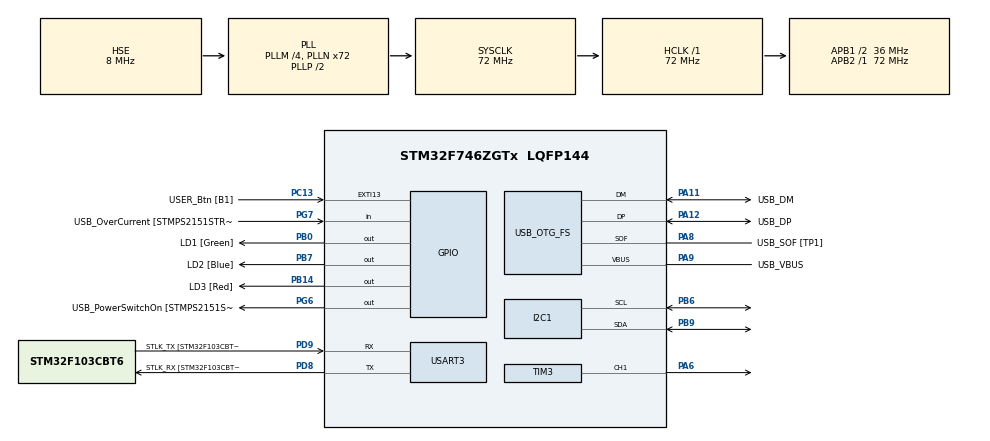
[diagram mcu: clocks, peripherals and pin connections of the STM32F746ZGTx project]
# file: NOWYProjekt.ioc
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I2C1.Timing=0x00808CD2
Mcu.Family=STM32F7
Mcu.Name=STM32F746ZGTx
Mcu.Package=LQFP144
NVIC.PriorityGroup=NVIC_PRIORITYGROUP_4
PA1.GPIO_Label=RMII_REF_CLK [LAN8742A-CZ-TR_REFCLK0]
PA1.Signal=ETH_REF_CLK
PA10.GPIO_Label=USB_ID
PA10.Signal=USB_OTG_FS_ID
PA11.GPIO_Label=USB_DM
PA11.Mode=Device_Only
PA11.Signal=USB_OTG_FS_DM
PA12.GPIO_Label=USB_DP
PA12.Mode=Device_Only
PA12.Signal=USB_OTG_FS_DP
PA13.GPIO_Label=TMS
PA13.Mode=Serial_Wire
PA13.Signal=SYS_JTMS-SWDIO
PA14.GPIO_Label=TCK
PA14.Mode=Serial_Wire
PA14.Signal=SYS_JTCK-SWCLK
PA2.GPIO_Label=RMII_MDIO [LAN8742A-CZ-TR_MDIO]
PA2.Signal=ETH_MDIO
PA6.Signal=S_TIM3_CH1
PA7.GPIO_Label=RMII_CRS_DV [LAN8742A-CZ-TR_CRS_DV]
PA7.Signal=ETH_CRS_DV
PA8.GPIO_Label=USB_SOF [TP1]
PA8.Mode=Activate_SOF_FS
PA8.Signal=USB_OTG_FS_SOF
PA9.GPIO_Label=USB_VBUS
PA9.Mode=Activate_VBUS
PA9.Signal=USB_OTG_FS_VBUS
PB0.GPIO_Label=LD1 [Green]
PB0.Signal=GPIO_Output
PB13.GPIO_Label=RMII_TXD1 [LAN8742A-CZ-TR_TXD1]
PB13.Signal=ETH_TXD1
PB14.GPIO_Label=LD3 [Red]
PB14.Signal=GPIO_Output
PB3.GPIO_Label=SW0
PB3.Signal=SYS_JTDO-SWO
PB6.Mode=I2C
PB6.Signal=I2C1_SCL
PB7.GPIO_Label=LD2 [Blue]
PB7.Signal=GPIO_Output
PB9.Mode=I2C
PB9.Signal=I2C1_SDA
PC1.GPIO_Label=RMII_MDC [LAN8742A-CZ-TR_MDC]
PC1.Signal=ETH_MDC
PC13.GPIO_Label=USER_Btn [B1]
PC13.Signal=GPXTI13
PC14/OSC32_IN.Mode=LSE-External-Oscillator
PC14/OSC32_IN.Signal=RCC_OSC32_IN
PC15/OSC32_OUT.Mode=LSE-External-Oscillator
PC15/OSC32_OUT.Signal=RCC_OSC32_OUT
PC4.GPIO_Label=RMII_RXD0 [LAN8742A-CZ-TR_RXD0]
PC4.Signal=ETH_RXD0
PC5.GPIO_Label=RMII_RXD1 [LAN8742A-CZ-TR_RXD1]
PC5.Signal=ETH_RXD1
PD8.GPIO_Label=STLK_RX [STM32F103CBT6_PA3]
PD8.Mode=Asynchronous
PD8.Signal=USART3_TX
PD9.GPIO_Label=STLK_TX [STM32F103CBT6_PA2]
PD9.Mode=Asynchronous
PD9.Signal=USART3_RX
PG11.GPIO_Label=RMII_TX_EN [LAN8742A-CZ-TR_TXEN]
PG11.Signal=ETH_TX_EN
PG13.GPIO_Label=RMII_TXD0 [LAN8742A-CZ-TR_TXD0]
PG13.Signal=ETH_TXD0
PG6.GPIO_Label=USB_PowerSwitchOn [STMPS2151STR_EN]
PG6.Signal=GPIO_Output
PG7.GPIO_Label=USB_OverCurrent [STMPS2151STR_FAULT]
PG7.Signal=GPIO_Input
PH0/OSC_IN.GPIO_Label=MCO [STM32F103CBT6_PA8]
PH0/OSC_IN.Mode=HSE-External-Clock-Source
PH0/OSC_IN.Signal=RCC_OSC_IN
PH1/OSC_OUT.Mode=HSE-External-Clock-Source
PH1/OSC_OUT.Signal=RCC_OSC_OUT
ProjectManager.HeapSize=0x200
ProjectManager.StackSize=0x400
ProjectManager.TargetToolchain=STM32CubeIDE
RCC.48MHZClocksFreq_Value=24000000
RCC.AHBFreq_Value=72000000
RCC.APB1CLKDivider=RCC_HCLK_DIV2
RCC.APB1Freq_Value=36000000
RCC.APB1TimFreq_Value=72000000
RCC.APB2Freq_Value=72000000
RCC.APB2TimFreq_Value=72000000
RCC.CortexFreq_Value=72000000
RCC.HCLKFreq_Value=72000000
RCC.HSE_VALUE=8000000
RCC.HSI_VALUE=16000000
RCC.PLLM=4
RCC.PLLMUL=RCC_PLL_MUL9
RCC.PLLN=72
RCC.PLLQ=3
RCC.PRESCALERUSB=RCC_USBCLKSOURCE_PLL_DIV1_5
RCC.SYSCLKFreq_VALUE=72000000
RCC.SYSCLKSource=RCC_SYSCLKSOURCE_PLLCLK
RCC.SYSCLKSourceVirtual=RCC_SYSCLKSOURCE_PLLCLK
RCC.USBFreq_Value=48000000
RCC.VCOOutputFreq_Value=144000000
SH.S_TIM3_CH1.0=TIM3_CH1,PWM Generation1 CH1
TIM3.Channel-PWM\ Generation1\ CH1=TIM_CHANNEL_1
TIM3.Period=999
TIM3.Prescaler=71
USART3.VirtualMode-Asynchronous=VM_ASYNC
USB_OTG_FS.VirtualMode=Device_Only
VP_TIM3_VS_ClockSourceINT.Mode=Internal
board=NUCLEO-F746ZG

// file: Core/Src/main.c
/* USER CODE BEGIN Header */
/**
  ******************************************************************************
  * @file           : main.c
  * @brief          : Main program body
  ******************************************************************************
  * @attention
  *
  * Copyright (c) 2023 STMicroelectronics.
  * All rights reserved.
  *
  * This software is licensed under terms that can be found in the LICENSE file
  * in the root directory of this software component.
  * If no LICENSE file comes with this software, it is provided AS-IS.
  *
  ******************************************************************************
  */
/* USER CODE END Header */
#include "main.h"
#include <string.h>
#include "BMPXX80.h"

I2C_HandleTypeDef hi2c1;

TIM_HandleTypeDef htim3;

UART_HandleTypeDef huart3;

PCD_HandleTypeDef hpcd_USB_OTG_FS;

/* USER CODE BEGIN PV */
	float temperature;
	float desTemp = 29;
	float his = 0.5;
	char data[316] = "";
	uint32_t pressure;
	char tekst[316];
/* USER CODE END PV */

void SystemClock_Config(void);
static void MX_GPIO_Init(void);
static void MX_USART3_UART_Init(void);
static void MX_USB_OTG_FS_PCD_Init(void);
static void MX_I2C1_Init(void);
static void MX_TIM3_Init(void);

int main(void)
{

  /* MCU Configuration--------------------------------------------------------*/

  /* Reset of all peripherals, Initializes the Flash interface and the Systick. */
  HAL_Init();

  /* Configure the system clock */
  SystemClock_Config();

  /* Initialize all configured peripherals */
  MX_GPIO_Init();
  MX_USART3_UART_Init();
  MX_USB_OTG_FS_PCD_Init();
  MX_I2C1_Init();
  MX_TIM3_Init();
  /* USER CODE BEGIN 2 */
  BMP280_Init(&hi2c1, BMP280_TEMPERATURE_16BIT, BMP280_STANDARD, BMP280_FORCEDMODE);
  /* USER CODE END 2 */

  /* Infinite loop */
  while (1)
  {

    /* USER CODE BEGIN 3 */
	  BMP280_ReadTemperatureAndPressure(&temperature, &pressure);
	  snprintf((char*)data,sizeof(data), "%.2f, ",temperature);
	  HAL_UART_Transmit(&huart3, (uint8_t*)data, strlen(data), 1000);
	  if( temperature >= desTemp + his*0.5){
		  __HAL_TIM_SET_COMPARE(&htim3, TIM_CHANNEL_1, 0);
	  }else if(temperature <= desTemp + his*0.25){
		  __HAL_TIM_SET_COMPARE(&htim3, TIM_CHANNEL_1, 900);
	  }
	  HAL_Delay(1000);
  }
  /* USER CODE END 3 */
}

void SystemClock_Config(void)
{
  RCC_OscInitTypeDef RCC_OscInitStruct = {0};
  RCC_ClkInitTypeDef RCC_ClkInitStruct = {0};

  /** Configure LSE Drive Capability
  */
  HAL_PWR_EnableBkUpAccess();
  /** Configure the main internal regulator output voltage
  */
  __HAL_RCC_PWR_CLK_ENABLE();
  __HAL_PWR_VOLTAGESCALING_CONFIG(PWR_REGULATOR_VOLTAGE_SCALE3);
  /** Initializes the RCC Oscillators according to the specified parameters
  * in the RCC_OscInitTypeDef structure.
  */
  RCC_OscInitStruct.OscillatorType = RCC_OSCILLATORTYPE_HSE;
  RCC_OscInitStruct.HSEState = RCC_HSE_BYPASS;
  RCC_OscInitStruct.PLL.PLLState = RCC_PLL_ON;
  RCC_OscInitStruct.PLL.PLLSource = RCC_PLLSOURCE_HSE;
  RCC_OscInitStruct.PLL.PLLM = 4;
  RCC_OscInitStruct.PLL.PLLN = 72;
  RCC_OscInitStruct.PLL.PLLP = RCC_PLLP_DIV2;
  RCC_OscInitStruct.PLL.PLLQ = 3;
  if (HAL_RCC_OscConfig(&RCC_OscInitStruct) != HAL_OK)
  {
    Error_Handler();
  }
  /** Initializes the CPU, AHB and APB buses clocks
  */
  RCC_ClkInitStruct.ClockType = RCC_CLOCKTYPE_HCLK|RCC_CLOCKTYPE_SYSCLK
                              |RCC_CLOCKTYPE_PCLK1|RCC_CLOCKTYPE_PCLK2;
  RCC_ClkInitStruct.SYSCLKSource = RCC_SYSCLKSOURCE_PLLCLK;
  RCC_ClkInitStruct.AHBCLKDivider = RCC_SYSCLK_DIV1;
  RCC_ClkInitStruct.APB1CLKDivider = RCC_HCLK_DIV2;
  RCC_ClkInitStruct.APB2CLKDivider = RCC_HCLK_DIV1;

  if (HAL_RCC_ClockConfig(&RCC_ClkInitStruct, FLASH_LATENCY_2) != HAL_OK)
  {
    Error_Handler();
  }
}

static void MX_I2C1_Init(void)
{

  hi2c1.Instance = I2C1;
  hi2c1.Init.Timing = 0x00808CD2;
  hi2c1.Init.OwnAddress1 = 0;
  hi2c1.Init.AddressingMode = I2C_ADDRESSINGMODE_7BIT;
  hi2c1.Init.DualAddressMode = I2C_DUALADDRESS_DISABLE;
  hi2c1.Init.OwnAddress2 = 0;
  hi2c1.Init.OwnAddress2Masks = I2C_OA2_NOMASK;
  hi2c1.Init.GeneralCallMode = I2C_GENERALCALL_DISABLE;
  hi2c1.Init.NoStretchMode = I2C_NOSTRETCH_DISABLE;
  if (HAL_I2C_Init(&hi2c1) != HAL_OK)
  {
    Error_Handler();
  }
  /** Configure Analogue filter
  */
  if (HAL_I2CEx_ConfigAnalogFilter(&hi2c1, I2C_ANALOGFILTER_ENABLE) != HAL_OK)
  {
    Error_Handler();
  }
  /** Configure Digital filter
  */
  if (HAL_I2CEx_ConfigDigitalFilter(&hi2c1, 0) != HAL_OK)
  {
    Error_Handler();
  }

}

static void MX_TIM3_Init(void)
{

  TIM_ClockConfigTypeDef sClockSourceConfig = {0};
  TIM_MasterConfigTypeDef sMasterConfig = {0};
  TIM_OC_InitTypeDef sConfigOC = {0};

  htim3.Instance = TIM3;
  htim3.Init.Prescaler = 71;
  htim3.Init.CounterMode = TIM_COUNTERMODE_UP;
  htim3.Init.Period = 65535;
  htim3.Init.ClockDivision = TIM_CLOCKDIVISION_DIV1;
  htim3.Init.AutoReloadPreload = TIM_AUTORELOAD_PRELOAD_DISABLE;
  if (HAL_TIM_Base_Init(&htim3) != HAL_OK)
  {
    Error_Handler();
  }
  sClockSourceConfig.ClockSource = TIM_CLOCKSOURCE_INTERNAL;
  if (HAL_TIM_ConfigClockSource(&htim3, &sClockSourceConfig) != HAL_OK)
  {
    Error_Handler();
  }
  if (HAL_TIM_PWM_Init(&htim3) != HAL_OK)
  {
    Error_Handler();
  }
  sMasterConfig.MasterOutputTrigger = TIM_TRGO_RESET;
  sMasterConfig.MasterSlaveMode = TIM_MASTERSLAVEMODE_DISABLE;
  if (HAL_TIMEx_MasterConfigSynchronization(&htim3, &sMasterConfig) != HAL_OK)
  {
    Error_Handler();
  }
  sConfigOC.OCMode = TIM_OCMODE_PWM1;
  sConfigOC.Pulse = 0;
  sConfigOC.OCPolarity = TIM_OCPOLARITY_HIGH;
  sConfigOC.OCFastMode = TIM_OCFAST_DISABLE;
  if (HAL_TIM_PWM_ConfigChannel(&htim3, &sConfigOC, TIM_CHANNEL_1) != HAL_OK)
  {
    Error_Handler();
  }
  HAL_TIM_MspPostInit(&htim3);

}

static void MX_USART3_UART_Init(void)
{

  huart3.Instance = USART3;
  huart3.Init.BaudRate = 115200;
  huart3.Init.WordLength = UART_WORDLENGTH_8B;
  huart3.Init.StopBits = UART_STOPBITS_1;
  huart3.Init.Parity = UART_PARITY_NONE;
  huart3.Init.Mode = UART_MODE_TX_RX;
  huart3.Init.HwFlowCtl = UART_HWCONTROL_NONE;
  huart3.Init.OverSampling = UART_OVERSAMPLING_16;
  huart3.Init.OneBitSampling = UART_ONE_BIT_SAMPLE_DISABLE;
  huart3.AdvancedInit.AdvFeatureInit = UART_ADVFEATURE_NO_INIT;
  if (HAL_UART_Init(&huart3) != HAL_OK)
  {
    Error_Handler();
  }

}

static void MX_USB_OTG_FS_PCD_Init(void)
{

  hpcd_USB_OTG_FS.Instance = USB_OTG_FS;
  hpcd_USB_OTG_FS.Init.dev_endpoints = 6;
  hpcd_USB_OTG_FS.Init.speed = PCD_SPEED_FULL;
  hpcd_USB_OTG_FS.Init.dma_enable = DISABLE;
  hpcd_USB_OTG_FS.Init.phy_itface = PCD_PHY_EMBEDDED;
  hpcd_USB_OTG_FS.Init.Sof_enable = ENABLE;
  hpcd_USB_OTG_FS.Init.low_power_enable = DISABLE;
  hpcd_USB_OTG_FS.Init.lpm_enable = DISABLE;
  hpcd_USB_OTG_FS.Init.vbus_sensing_enable = ENABLE;
  hpcd_USB_OTG_FS.Init.use_dedicated_ep1 = DISABLE;
  if (HAL_PCD_Init(&hpcd_USB_OTG_FS) != HAL_OK)
  {
    Error_Handler();
  }

}

static void MX_GPIO_Init(void)
{
  GPIO_InitTypeDef GPIO_InitStruct = {0};

  /* GPIO Ports Clock Enable */
  __HAL_RCC_GPIOC_CLK_ENABLE();
  __HAL_RCC_GPIOH_CLK_ENABLE();
  __HAL_RCC_GPIOA_CLK_ENABLE();
  __HAL_RCC_GPIOB_CLK_ENABLE();
  __HAL_RCC_GPIOD_CLK_ENABLE();
  __HAL_RCC_GPIOG_CLK_ENABLE();

  /*Configure GPIO pin Output Level */
  HAL_GPIO_WritePin(GPIOB, LD1_Pin|LD3_Pin|LD2_Pin, GPIO_PIN_RESET);

  /*Configure GPIO pin Output Level */
  HAL_GPIO_WritePin(USB_PowerSwitchOn_GPIO_Port, USB_PowerSwitchOn_Pin, GPIO_PIN_RESET);

  /*Configure GPIO pin : USER_Btn_Pin */
  GPIO_InitStruct.Pin = USER_Btn_Pin;
  GPIO_InitStruct.Mode = GPIO_MODE_IT_RISING;
  GPIO_InitStruct.Pull = GPIO_NOPULL;
  HAL_GPIO_Init(USER_Btn_GPIO_Port, &GPIO_InitStruct);

  /*Configure GPIO pins : RMII_MDC_Pin RMII_RXD0_Pin RMII_RXD1_Pin */
  GPIO_InitStruct.Pin = RMII_MDC_Pin|RMII_RXD0_Pin|RMII_RXD1_Pin;
  GPIO_InitStruct.Mode = GPIO_MODE_AF_PP;
  GPIO_InitStruct.Pull = GPIO_NOPULL;
  GPIO_InitStruct.Speed = GPIO_SPEED_FREQ_VERY_HIGH;
  GPIO_InitStruct.Alternate = GPIO_AF11_ETH;
  HAL_GPIO_Init(GPIOC, &GPIO_InitStruct);

  /*Configure GPIO pins : RMII_REF_CLK_Pin RMII_MDIO_Pin RMII_CRS_DV_Pin */
  GPIO_InitStruct.Pin = RMII_REF_CLK_Pin|RMII_MDIO_Pin|RMII_CRS_DV_Pin;
  GPIO_InitStruct.Mode = GPIO_MODE_AF_PP;
  GPIO_InitStruct.Pull = GPIO_NOPULL;
  GPIO_InitStruct.Speed = GPIO_SPEED_FREQ_VERY_HIGH;
  GPIO_InitStruct.Alternate = GPIO_AF11_ETH;
  HAL_GPIO_Init(GPIOA, &GPIO_InitStruct);

  /*Configure GPIO pins : LD1_Pin LD3_Pin LD2_Pin */
  GPIO_InitStruct.Pin = LD1_Pin|LD3_Pin|LD2_Pin;
  GPIO_InitStruct.Mode = GPIO_MODE_OUTPUT_PP;
  GPIO_InitStruct.Pull = GPIO_NOPULL;
  GPIO_InitStruct.Speed = GPIO_SPEED_FREQ_LOW;
  HAL_GPIO_Init(GPIOB, &GPIO_InitStruct);

  /*Configure GPIO pin : RMII_TXD1_Pin */
  GPIO_InitStruct.Pin = RMII_TXD1_Pin;
  GPIO_InitStruct.Mode = GPIO_MODE_AF_PP;
  GPIO_InitStruct.Pull = GPIO_NOPULL;
  GPIO_InitStruct.Speed = GPIO_SPEED_FREQ_VERY_HIGH;
  GPIO_InitStruct.Alternate = GPIO_AF11_ETH;
  HAL_GPIO_Init(RMII_TXD1_GPIO_Port, &GPIO_InitStruct);

  /*Configure GPIO pin : USB_PowerSwitchOn_Pin */
  GPIO_InitStruct.Pin = USB_PowerSwitchOn_Pin;
  GPIO_InitStruct.Mode = GPIO_MODE_OUTPUT_PP;
  GPIO_InitStruct.Pull = GPIO_NOPULL;
  GPIO_InitStruct.Speed = GPIO_SPEED_FREQ_LOW;
  HAL_GPIO_Init(USB_PowerSwitchOn_GPIO_Port, &GPIO_InitStruct);

  /*Configure GPIO pin : USB_OverCurrent_Pin */
  GPIO_InitStruct.Pin = USB_OverCurrent_Pin;
  GPIO_InitStruct.Mode = GPIO_MODE_INPUT;
  GPIO_InitStruct.Pull = GPIO_NOPULL;
  HAL_GPIO_Init(USB_OverCurrent_GPIO_Port, &GPIO_InitStruct);

  /*Configure GPIO pins : RMII_TX_EN_Pin RMII_TXD0_Pin */
  GPIO_InitStruct.Pin = RMII_TX_EN_Pin|RMII_TXD0_Pin;
  GPIO_InitStruct.Mode = GPIO_MODE_AF_PP;
  GPIO_InitStruct.Pull = GPIO_NOPULL;
  GPIO_InitStruct.Speed = GPIO_SPEED_FREQ_VERY_HIGH;
  GPIO_InitStruct.Alternate = GPIO_AF11_ETH;
  HAL_GPIO_Init(GPIOG, &GPIO_InitStruct);

}

void Error_Handler(void)
{
  __disable_irq();
  while (1)
  {
  }
}
